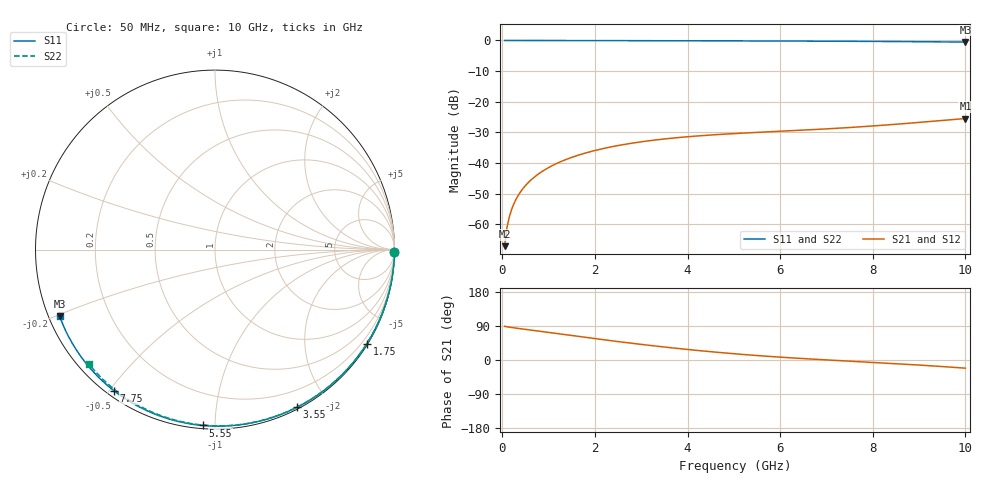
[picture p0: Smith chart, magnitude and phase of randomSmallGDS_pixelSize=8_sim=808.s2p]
! freq	dB(S11)	phase(S11)	dB(S12)	phase(S12)
!  dB(S21)	phase(S21)	dB(S22)	phase(S22)
!S-par simulation data
#  GHz  S  DB  R 50
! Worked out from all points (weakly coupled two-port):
!   200 points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, 50 MHz to 10 GHz, reference 50 ohm
!   highest |S21| = -25.47 dB at 10 GHz (marker M1); lowest = -67.1 dB at 50 MHz (marker M2)
!   lowest |S11| = -0.5 dB at 10 GHz (marker M3), VSWR 33.31, Z = 1.56 - j10.2 ohm
!   |S11| at or under -10 dB: nowhere
!   |S22| runs from -0.5 to 0.0 dB; largest |S21 - S12| = 0
!   S11 on the Smith chart (normalised r, x): 50 MHz: open; 1.75 GHz: 0.03, -3.52; 3.55 GHz: 0.02, -1.65; 5.55 GHz: 0.02, -0.93; 7.75 GHz: 0.02, -0.51; 10 GHz: 0.03, -0.20
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0.05  -0.00 -0.9  -67.11 88.8  -67.11 88.8  -0.00 -0.8
0.1  -0.00 -1.8  -61.13 87.7  -61.13 87.7  -0.00 -1.6
0.15  -0.00 -2.8  -57.64 86.7  -57.64 86.7  -0.00 -2.4
0.2  -0.00 -3.7  -55.18 85.8  -55.18 85.8  -0.00 -3.3
0.25  -0.00 -4.6  -53.27 84.9  -53.27 84.9  -0.00 -4.1
0.35  -0.00 -6.5  -50.39 83.2  -50.39 83.2  -0.00 -5.7
0.5  -0.01 -9.2  -47.35 80.8  -47.35 80.8  -0.01 -8.1
0.7  -0.01 -12.9  -44.48 77.5  -44.48 77.5  -0.01 -11.3
1  -0.02 -18.3  -41.47 72.6  -41.47 72.6  -0.02 -16.1
1.35  -0.03 -24.6  -38.99 66.8  -38.99 66.8  -0.03 -21.7
1.75  -0.04 -31.7  -36.92 60.3  -36.92 60.3  -0.04 -28.0
2.5  -0.06 -44.8  -34.28 48.5  -34.28 48.5  -0.05 -39.6
3.4  -0.08 -60.0  -32.30 35.6  -32.30 35.6  -0.07 -53.1
3.55  -0.09 -62.5  -32.06 33.6  -32.06 33.6  -0.08 -55.3
4.3  -0.11 -74.6  -31.06 24.2  -31.06 24.2  -0.10 -66.1
5.05  -0.13 -86.3  -30.34 16.0  -30.34 16.0  -0.12 -76.5
5.55  -0.16 -93.9  -29.95 11.3  -29.95 11.3  -0.14 -83.3
6.7  -0.22 -110.7  -29.10 2.3  -29.10 2.3  -0.19 -98.2
7.75  -0.29 -125.5  -28.16 -4.6  -28.16 -4.6  -0.26 -111.2
8.35  -0.34 -133.9  -27.51 -8.6  -27.51 -8.6  -0.30 -118.5
9.2  -0.43 -145.7  -26.49 -14.9  -26.49 -14.9  -0.38 -128.5
10  -0.52 -156.9  -25.47 -21.6  -25.47 -21.6  -0.46 -137.9
